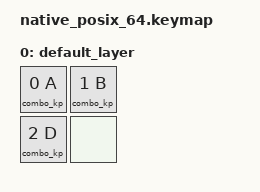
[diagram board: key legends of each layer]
#include <dt-bindings/zmk/keys.h>
#include <behaviors.dtsi>
#include <dt-bindings/zmk/kscan_mock.h>

/ {
    combos {
        compatible = "zmk,combos";
        combo_one {
            timeout-ms = <30>;
            triggers = <0 1>;
            bindings = <&kp C>;
            /* no slow-release! */
        };
    };

    keymap {
        compatible = "zmk,keymap";

        default_layer {
            bindings = <
                &combo_kp 0 A &combo_kp 1 B
                &combo_kp 2 D &none
            >;
        };
    };
};

&kscan {
    events = <
        ZMK_MOCK_PRESS(0,0,10)
        ZMK_MOCK_PRESS(0,1,10)
        ZMK_MOCK_RELEASE(0,0,10) /* this should release the combo */
        ZMK_MOCK_PRESS(1,0,10)
        ZMK_MOCK_RELEASE(0,1,10)
        ZMK_MOCK_RELEASE(1,0,10)
    >;
};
